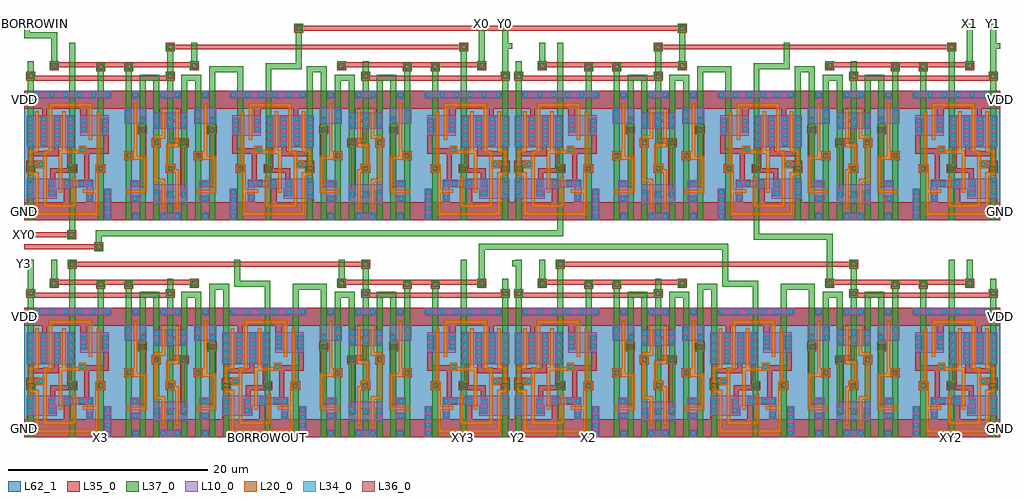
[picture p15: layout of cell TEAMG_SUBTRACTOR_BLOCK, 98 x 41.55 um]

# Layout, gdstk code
from math import pi, radians
import gdstk
lib = gdstk.Library(unit=1e-6, precision=1e-09)
def R(c, l, rs):  # rectangles x0, y0, x1, y1
    for r in rs: c.add(gdstk.rectangle(r[:2], r[2:], *l))
def A(c, l, x, y, w, h, nx, ny, dx, dy):  # array of equal rectangles
    R(c, l, [(x+i*dx, y+j*dy, x+i*dx+w, y+j*dy+h) for i in range(nx) for j in range(ny)])
def P(c, l, *ps):  # polygons
    for p in ps: c.add(gdstk.Polygon(p, *l))
L10_0 = (10, 0)
L20_0 = (20, 0)
L34_0 = (34, 0)
L35_0 = (35, 0)
L36_0 = (36, 0)
L37_0 = (37, 0)
L62_1 = (62, 1)

via1 = lib.new_cell('VIA1')
R(via1, L35_0, [(-0.45,-0.45,0.45,0.45)])
R(via1, L36_0, [(-0.25,-0.25,0.25,0.25)])
R(via1, L37_0, [(-0.4,-0.4,0.4,0.4)])

inv1_h = lib.new_cell('INV1_H')
R(inv1_h, L10_0, [(1.05,0,1.75,0.75), (0.85,1.8,1.85,4), (0.3,9.7,2.5,11.3), (1.05,12.25,1.75,13)])
P(inv1_h, L20_0, [(2.525,6.45),(1.575,6.45),(1.575,11.7),(1.225,11.7),(1.225,6.9),(0.3,6.9),(0.3,6.1),(2.175,6.1),(2.175,3.075),(0.425,3.075),(0.425,2.725),(2.525,2.725)])
R(inv1_h, L34_0, [(1.2,0.2,1.6,0.6), (1.15,1.95,1.55,2.35), (1.15,3.45,1.55,3.85), (0.5,6.3,0.9,6.7), (0.45,9.85,0.85,10.25), (1.95,9.85,2.35,10.25), (0.45,10.65,0.85,11.05), (1.2,12.4,1.6,12.8)])
R(inv1_h, L35_0, [(0,0,2.8,1.8), (0.25,6.05,1.15,6.95), (0.25,6.05,1.15,6.95), (1.65,8.65,2.55,9.55), (0,11.2,2.8,13)])
P(inv1_h, L35_0, [(2.8,1.8),(1.75,1.8),(1.75,2.5),(1,2.5),(1,1.8),(0,1.8),(0,0),(2.8,0)],
  [(2.55,9.55),(2.5,9.55),(2.5,10.4),(1.8,10.4),(1.8,9.55),(1.65,9.55),(1.65,8.65),(1.8,8.65),(1.8,4),(1,4),(1,3.3),(2.5,3.3),(2.5,8.65),(2.55,8.65)],
  [(2.8,13),(0,13),(0,11.2),(0.3,11.2),(0.3,9.7),(1,9.7),(1,11.2),(2.8,11.2)])
R(inv1_h, L36_0, [(0.45,6.25,0.95,6.75), (1.85,8.85,2.35,9.35)])
R(inv1_h, L37_0, [(0.4,0,1,13), (1.8,0,2.4,13), (0.3,6.1,1.1,6.9), (1.7,8.7,2.5,9.5)])
R(inv1_h, L62_1, [(0,0,2.8,13)])
inv1_h.add(gdstk.Label('INV1', (1.4,9.5), layer=61, texttype=2))
inv1_h.add(gdstk.Label('A', (0.7,13), layer=37, texttype=0))
inv1_h.add(gdstk.Label('Q', (2.1,13), layer=37, texttype=0))
inv1_h.add(gdstk.Label('A', (0.7,0), layer=37, texttype=0))
inv1_h.add(gdstk.Label('Q', (2.1,0), layer=37, texttype=0))
inv1_h.add(gdstk.Label('VDD', (0,12.1), layer=35, texttype=0))
inv1_h.add(gdstk.Label('GND', (0,0.9), layer=35, texttype=0))
inv1_h.add(gdstk.Label('VDD', (2.8,12.1), layer=35, texttype=0))
inv1_h.add(gdstk.Label('GND', (2.8,0.9), layer=35, texttype=0))

nand21_h = lib.new_cell('NAND21_H')
R(nand21_h, L10_0, [(1.05,0,3.15,0.75), (0.4,1.6,3.8,3.6), (0.4,9.2,3.8,10.8), (1.05,12.25,3.15,13)])
P(nand21_h, L20_0, [(2.95,5.15),(2.625,5.15),(2.625,5.675),(2.05,5.675),(2.05,7.35),(2.95,7.35),(2.95,11.2),(2.6,11.2),(2.6,7.7),(1.7,7.7),(1.7,4.8),(2.6,4.8),(2.6,1.2),(2.95,1.2)],
  [(1.6,4.15),(0.775,4.15),(0.775,7.4),(1.1,7.4),(1.1,8.2),(1.6,8.2),(1.6,11.2),(1.25,11.2),(1.25,8.55),(0.425,8.55),(0.425,8.2),(0.3,8.2),(0.3,7.4),(0.425,7.4),(0.425,3.8),(1.25,3.8),(1.25,1.2),(1.6,1.2)])
A(nand21_h, L34_0, 0.55, 2.4, 0.4, 0.4, 3, 2, 1.35, 7)
A(nand21_h, L34_0, 0.55, 10.2, 0.4, 0.4, 3, 1, 1.35, 0)
R(nand21_h, L34_0, [(1.2,0.2,1.6,0.6), (2.6,0.2,3,0.6), (1.9,5,2.3,5.4), (0.5,7.6,0.9,8), (1.2,12.4,1.6,12.8), (2.6,12.4,3,12.8)])
R(nand21_h, L35_0, [(1.75,2.25,2.45,2.95), (1.65,4.75,2.55,5.65), (1.65,4.75,2.55,5.65), (0.25,7.35,1.15,8.25), (0.25,7.35,1.15,8.25), (3.05,7.35,3.95,8.25)])
P(nand21_h, L35_0, [(4.2,1.8),(1.1,1.8),(1.1,3),(0.4,3),(0.4,1.8),(0,1.8),(0,0),(4.2,0)],
  [(4.2,13),(0,13),(0,11.2),(0.4,11.2),(0.4,9.25),(1.1,9.25),(1.1,11.2),(3.1,11.2),(3.1,9.25),(3.8,9.25),(3.8,11.2),(4.2,11.2)],
  [(3.95,8.25),(2.45,8.25),(2.45,10.75),(1.75,10.75),(1.75,9.25),(1.95,9.25),(1.95,7.75),(3.05,7.75),(3.05,7.35),(3.1,7.35),(3.1,2.25),(3.8,2.25),(3.8,2.95),(3.6,2.95),(3.6,7.35),(3.95,7.35)])
R(nand21_h, L36_0, [(1.85,4.95,2.35,5.45), (0.45,7.55,0.95,8.05), (3.25,7.55,3.75,8.05)])
A(nand21_h, L37_0, 0.4, 0, 0.6, 13, 3, 1, 1.4, 0)
R(nand21_h, L37_0, [(1.7,4.8,2.5,5.6), (0.3,7.4,1.1,8.2), (3.1,7.4,3.9,8.2)])
R(nand21_h, L62_1, [(0,0,4.2,13)])
nand21_h.add(gdstk.Label('NAND21', (2.1,9.5), layer=61, texttype=2))
nand21_h.add(gdstk.Label('B', (0.7,13), layer=37, texttype=0))
nand21_h.add(gdstk.Label('Q', (3.5,13), layer=37, texttype=0))
nand21_h.add(gdstk.Label('A', (2.1,13), layer=37, texttype=0))
nand21_h.add(gdstk.Label('GND', (4.2,0.9), layer=35, texttype=0))
nand21_h.add(gdstk.Label('GND', (0,0.9), layer=35, texttype=0))
nand21_h.add(gdstk.Label('VDD', (4.2,12.1), layer=35, texttype=0))
nand21_h.add(gdstk.Label('VDD', (0,12.1), layer=35, texttype=0))
nand21_h.add(gdstk.Label('B', (0.7,0), layer=37, texttype=0))
nand21_h.add(gdstk.Label('Q', (3.5,0), layer=37, texttype=0))
nand21_h.add(gdstk.Label('A', (2.1,0), layer=37, texttype=0))

xor21_h = lib.new_cell('XOR21_H')
R(xor21_h, L10_0, [(8.05,0,8.75,3.15), (0.3,7.35,5.05,10.55), (5.65,8.5,8.5,10.55), (1.05,12.25,8.75,13)])
P(xor21_h, L10_0, [(6.95,4.025),(5.45,4.025),(5.45,3.975),(4.7,3.975),(4.7,4.175),(0.3,4.175),(0.3,2.175),(3.3,2.175),(3.3,3.175),(4.7,3.175),(4.7,3.325),(6.3,3.325),(6.3,2.575),(6.25,2.575),(6.25,1.875),(6.95,1.875)])
P(xor21_h, L20_0, [(6.85,11.75),(2.5,11.75),(2.5,7.025),(1.95,7.025),(1.95,6.05),(1.3,6.05),(1.3,5.25),(1.95,5.25),(1.95,1.275),(5.25,1.275),(5.25,4.375),(4.9,4.375),(4.9,1.625),(2.3,1.625),(2.3,6.675),(2.85,6.675),(2.85,11.4),(6.5,11.4),(6.5,8.1),(6.85,8.1)],
  [(8.1,5.6),(7.65,5.6),(7.65,10.95),(7.3,10.95),(7.3,5.6),(7.15,5.6),(7.15,3.125),(5.9,3.125),(5.9,2.775),(7.15,2.775),(7.15,0.825),(1.5,0.825),(1.5,4.8),(0.85,4.8),(0.85,6.8),(1.5,6.8),(1.5,10.95),(1.15,10.95),(1.15,7.15),(0.5,7.15),(0.5,4.45),(1.15,4.45),(1.15,0.475),(7.5,0.475),(7.5,4.8),(8.1,4.8)],
  [(6.275,7.475),(5.475,7.475),(5.475,7.025),(4.2,7.025),(4.2,10.95),(3.85,10.95),(3.85,7.025),(3.5,7.025),(3.5,2.775),(3.85,2.775),(3.85,6.675),(6.275,6.675)])
A(xor21_h, L34_0, 8.2, 0.2, 0.4, 0.4, 1, 4, 0, 0.8)
A(xor21_h, L34_0, 0.45, 7.55, 0.4, 0.4, 4, 4, 1.35, 0.8)
A(xor21_h, L34_0, 1.2, 12.4, 0.4, 0.4, 6, 1, 1.4, 0)
R(xor21_h, L34_0, [(6.4,2.05,6.8,2.45), (0.45,2.55,0.85,2.95), (2.6,2.55,3,2.95), (0.45,3.4,0.85,3.8), (2.6,3.4,3,3.8), (5.6,3.45,6,3.85), (6.4,3.45,6.8,3.85), (4.15,3.5,4.55,3.9), (7.5,5,7.9,5.4), (1.5,5.45,1.9,5.85), (5.65,6.9,6.05,7.3), (5.8,8.95,6.2,9.35), (7.95,8.95,8.35,9.35), (5.8,9.75,6.2,10.15), (7.95,9.75,8.35,10.15)])
R(xor21_h, L35_0, [(0.25,4.75,1.15,5.65), (4.4,4.75,5.3,5.65), (7.25,4.75,8.15,5.65), (7.25,4.75,8.15,5.65)])
P(xor21_h, L35_0, [(5.35,5.65),(4.85,5.65),(4.85,7.4),(5.05,7.4),(5.05,10.5),(4.35,10.5),(4.35,5.25),(2.65,5.25),(2.65,3.95),(2.45,3.95),(2.45,2.4),(3.15,2.4),(3.15,4.75),(5.35,4.75)],
  [(9.8,1.8),(8.75,1.8),(8.75,3.15),(8.05,3.15),(8.05,1.8),(6.95,1.8),(6.95,2.6),(6.25,2.6),(6.25,1.8),(4.7,1.8),(4.7,4.05),(4,4.05),(4,1.8),(1,1.8),(1,3.95),(0.3,3.95),(0.3,1.8),(0,1.8),(0,0),(9.8,0)],
  [(8.5,10.3),(7.8,10.3),(7.8,8.8),(8,8.8),(8,7.25),(6.25,7.25),(6.25,7.45),(5.5,7.45),(5.5,6.7),(6.05,6.7),(6.05,4.05),(5.45,4.05),(5.45,3.3),(6.95,3.3),(6.95,4.05),(6.55,4.05),(6.55,6.7),(8.5,6.7)],
  [(9.8,13),(0,13),(0,11.2),(1.85,11.2),(1.85,10.5),(1.65,10.5),(1.65,7.4),(2.35,7.4),(2.35,11.2),(5.65,11.2),(5.65,8.8),(6.35,8.8),(6.35,11.2),(9.8,11.2)],
  [(3.7,10.5),(3,10.5),(3,6.95),(1,6.95),(1,10.5),(0.3,10.5),(0.3,7.4),(0.5,7.4),(0.5,6.45),(3.5,6.45),(3.5,7.4),(3.7,7.4)],
  [(2.05,6),(0.25,6),(0.25,4.75),(1.15,4.75),(1.15,5.3),(2.05,5.3)])
R(xor21_h, L36_0, [(0.45,4.95,0.95,5.45), (4.6,4.95,5.1,5.45), (7.45,4.95,7.95,5.45)])
R(xor21_h, L37_0, [(0.4,0,1,13), (4.55,0,5.15,13), (7.4,0,8,13), (0.3,4.8,1.1,5.6), (4.45,4.8,5.25,5.6), (7.3,4.8,8.1,5.6)])
R(xor21_h, L62_1, [(0,0,9.8,13)])
xor21_h.add(gdstk.Label('XOR21', (4.9,9.5), layer=61, texttype=2))
xor21_h.add(gdstk.Label('A', (0.7,13), layer=37, texttype=0))
xor21_h.add(gdstk.Label('Q', (4.85,13), layer=37, texttype=0))
xor21_h.add(gdstk.Label('B', (7.7,13), layer=37, texttype=0))
xor21_h.add(gdstk.Label('GND', (9.8,0.9), layer=35, texttype=0))
xor21_h.add(gdstk.Label('GND', (0,0.9), layer=35, texttype=0))
xor21_h.add(gdstk.Label('VDD', (9.8,12.1), layer=35, texttype=0))
xor21_h.add(gdstk.Label('VDD', (0,12.1), layer=35, texttype=0))
xor21_h.add(gdstk.Label('A', (0.7,0), layer=37, texttype=0))
xor21_h.add(gdstk.Label('Q', (4.85,0), layer=37, texttype=0))
xor21_h.add(gdstk.Label('B', (7.7,0), layer=37, texttype=0))

teamg_halfsubtractor = lib.new_cell('TEAMG_HALFSUBTRACTOR')
teamg_halfsubtractor.add(gdstk.FlexPath([(44,33.1),(29.3,33.1)], 0.5, ends="flush", simple_path=True, layer=35, datatype=0))  # L35_0
teamg_halfsubtractor.add(gdstk.FlexPath([(41.65,31.75),(26.8,31.75)], 0.5, ends="flush", simple_path=True, layer=35, datatype=0))  # L35_0
teamg_halfsubtractor.add(gdstk.FlexPath([(46.15,32.65),(45.15,32.65)], 0.6, ends="flush", simple_path=True, layer=37, datatype=0))  # L37_0
teamg_halfsubtractor.add(gdstk.FlexPath([(45.45,32.95),(45.45,30.5)], 0.6, ends="flush", simple_path=True, layer=37, datatype=0))  # L37_0
teamg_halfsubtractor.add(gdstk.FlexPath([(29.6,33.45),(29.6,33.4)], 0.6, ends="flush", simple_path=True, layer=37, datatype=0))  # L37_0
teamg_halfsubtractor.add(gdstk.FlexPath([(43.65,33.45),(43.65,33.4)], 0.6, ends="flush", simple_path=True, layer=37, datatype=0))  # L37_0
teamg_halfsubtractor.add(gdstk.FlexPath([(27.25,33.45),(27.25,30.5)], 0.6, ends="flush", simple_path=True, layer=37, datatype=0))  # L37_0
teamg_halfsubtractor.add(gdstk.FlexPath([(31.4,33.45),(31.4,30.5)], 0.6, ends="flush", simple_path=True, layer=37, datatype=0))  # L37_0
teamg_halfsubtractor.add(gdstk.FlexPath([(41.25,33.45),(41.25,30.5)], 0.6, ends="flush", simple_path=True, layer=37, datatype=0))  # L37_0
teamg_halfsubtractor.add(gdstk.FlexPath([(44.05,32.1),(44.05,30.5)], 0.6, ends="flush", simple_path=True, layer=37, datatype=0))  # L37_0
teamg_halfsubtractor.add(gdstk.FlexPath([(44.35,31.8),(42.7,31.8)], 0.6, ends="flush", simple_path=True, layer=37, datatype=0))  # L37_0
teamg_halfsubtractor.add(gdstk.FlexPath([(42.65,32.1),(42.65,30.5)], 0.6, ends="flush", simple_path=True, layer=37, datatype=0))  # L37_0
teamg_halfsubtractor.add(gdstk.FlexPath([(40.15,31.8),(38.15,31.8)], 0.6, ends="flush", simple_path=True, layer=37, datatype=0))  # L37_0
teamg_halfsubtractor.add(gdstk.FlexPath([(39.85,31.95),(39.85,30.5)], 0.6, ends="flush", simple_path=True, layer=37, datatype=0))  # L37_0
teamg_halfsubtractor.add(gdstk.FlexPath([(38.45,32),(38.45,30.5)], 0.6, ends="flush", simple_path=True, layer=37, datatype=0))  # L37_0
teamg_halfsubtractor.add(gdstk.FlexPath([(37.05,33.3),(37.05,30.5)], 0.6, ends="flush", simple_path=True, layer=37, datatype=0))  # L37_0
teamg_halfsubtractor.add(gdstk.FlexPath([(34.25,33.3),(34.25,30.5)], 0.6, ends="flush", simple_path=True, layer=37, datatype=0))  # L37_0
teamg_halfsubtractor.add(gdstk.Reference(via1, (29.6,33)))
teamg_halfsubtractor.add(gdstk.Reference(via1, (43.65,33)))
teamg_halfsubtractor.add(gdstk.Reference(via1, (41.25,31.95)))
teamg_halfsubtractor.add(gdstk.Reference(via1, (37.05,32.9)))
teamg_halfsubtractor.add(gdstk.Reference(via1, (34.25,32.9)))
teamg_halfsubtractor.add(gdstk.Reference(via1, (27.25,31.95)))
teamg_halfsubtractor.add(gdstk.Reference(inv1_h, (43.35,17.5)))
teamg_halfsubtractor.add(gdstk.Reference(nand21_h, (39.15,17.5)))
teamg_halfsubtractor.add(gdstk.Reference(inv1_h, (36.35,17.5)))
teamg_halfsubtractor.add(gdstk.Reference(xor21_h, (26.55,17.5)))
teamg_halfsubtractor.add(gdstk.Label('BORROWOUT', (46.15,32.65), layer=37, texttype=0))
teamg_halfsubtractor.add(gdstk.Label('X', (43.65,33.45), layer=37, texttype=0))
teamg_halfsubtractor.add(gdstk.Label('X', (29.6,33.45), layer=37, texttype=0))
teamg_halfsubtractor.add(gdstk.Label('Y', (27.25,33.45), layer=37, texttype=0))
teamg_halfsubtractor.add(gdstk.Label('XY', (31.4,33.45), layer=37, texttype=0))
teamg_halfsubtractor.add(gdstk.Label('Y', (41.25,33.45), layer=37, texttype=0))
teamg_halfsubtractor.add(gdstk.Label('XY', (31.4,17.5), layer=37, texttype=0))
teamg_halfsubtractor.add(gdstk.Label('BORROWOUT', (45.45,17.5), layer=37, texttype=0))

teamg_fullsubtractor = lib.new_cell('TEAMG_FULLSUBTRACTOR')
teamg_fullsubtractor.add(gdstk.FlexPath([(35,34.05),(5.5,34.05)], 0.5, ends="flush", simple_path=True, layer=35, datatype=0))  # L35_0
teamg_fullsubtractor.add(gdstk.FlexPath([(0.4,34.15),(1.4,34.15)], 0.6, ends="flush", simple_path=True, layer=37, datatype=0))  # L37_0
teamg_fullsubtractor.add(gdstk.FlexPath([(21.8,34.5),(21.8,32.1),(24.85,32.1),(24.85,29.65)], 0.6, ends="flush", simple_path=True, layer=37, datatype=0))  # L37_0
teamg_fullsubtractor.add(gdstk.FlexPath([(20.95,31.8),(20,31.8)], 0.6, ends="flush", simple_path=True, layer=37, datatype=0))  # L37_0
teamg_fullsubtractor.add(gdstk.FlexPath([(20.7,32.1),(20.7,29.65)], 0.6, ends="flush", simple_path=True, layer=37, datatype=0))  # L37_0
teamg_fullsubtractor.add(gdstk.FlexPath([(27.75,31.8),(29.8,31.8)], 0.6, ends="flush", simple_path=True, layer=37, datatype=0))  # L37_0
teamg_fullsubtractor.add(gdstk.FlexPath([(46.35,34.5),(46.35,32.6)], 0.6, ends="flush", simple_path=True, layer=37, datatype=0))  # L37_0
teamg_fullsubtractor.add(gdstk.FlexPath([(3.45,34.5),(3.45,32.6)], 0.6, ends="flush", simple_path=True, layer=37, datatype=0))  # L37_0
teamg_fullsubtractor.add(gdstk.FlexPath([(1.1,34.5),(1.1,32.6)], 0.6, ends="flush", simple_path=True, layer=37, datatype=0))  # L37_0
teamg_fullsubtractor.add(gdstk.FlexPath([(44.55,34.5),(44.55,32.6)], 0.6, ends="flush", simple_path=True, layer=37, datatype=0))  # L37_0
teamg_fullsubtractor.add(gdstk.FlexPath([(32.3,34.5),(32.3,32.6)], 0.6, ends="flush", simple_path=True, layer=37, datatype=0))  # L37_0
teamg_fullsubtractor.add(gdstk.FlexPath([(34.7,34.3),(34.7,32.6)], 0.6, ends="flush", simple_path=True, layer=37, datatype=0))  # L37_0
teamg_fullsubtractor.add(gdstk.FlexPath([(5.25,34.45),(5.25,32.6)], 0.6, ends="flush", simple_path=True, layer=37, datatype=0))  # L37_0
teamg_fullsubtractor.add(gdstk.FlexPath([(27.7,32.1),(27.7,29.65)], 0.6, ends="flush", simple_path=True, layer=37, datatype=0))  # L37_0
teamg_fullsubtractor.add(gdstk.Reference(teamg_halfsubtractor, (75.95,-0.85), rotation=pi, x_reflection=True))
teamg_fullsubtractor.add(gdstk.Reference(teamg_halfsubtractor, (-26.15,-0.85)))
teamg_fullsubtractor.add(gdstk.Reference(via1, (34.7,34.05)))
teamg_fullsubtractor.add(gdstk.Reference(via1, (5.25,34.05)))
teamg_fullsubtractor.add(gdstk.Reference(xor21_h, (20,16.65)))
teamg_fullsubtractor.add(gdstk.Label('Y', (0.4,34.15), layer=37, texttype=0))
teamg_fullsubtractor.add(gdstk.Label('Y', (1.1,16.65), layer=37, texttype=0))
teamg_fullsubtractor.add(gdstk.Label('X', (8.1,16.65), layer=37, texttype=0))
teamg_fullsubtractor.add(gdstk.Label('BORROWOUT', (21.8,34.5), layer=37, texttype=0))
teamg_fullsubtractor.add(gdstk.Label('CIN', (46.35,34.5), layer=37, texttype=0))
teamg_fullsubtractor.add(gdstk.Label('XY', (44.55,16.65), layer=37, texttype=0))
teamg_fullsubtractor.add(gdstk.Label('BORROWOUT', (24.85,16.65), layer=37, texttype=0))
teamg_fullsubtractor.add(gdstk.Label('XY', (44.55,34.5), layer=37, texttype=0))
teamg_fullsubtractor.add(gdstk.Label('X', (3.45,34.5), layer=37, texttype=0))
teamg_fullsubtractor.add(gdstk.Label('Y', (1.1,34.5), layer=37, texttype=0))
teamg_fullsubtractor.add(gdstk.Label('CIN', (32.3,34.5), layer=37, texttype=0))

teamg_subtractor_block = lib.new_cell('TEAMG_SUBTRACTOR_BLOCK')
teamg_subtractor_block.add(gdstk.FlexPath([(6.55,-0.75),(11.6,-0.75)], 0.5, ends="flush", simple_path=True, layer=35, datatype=0))  # L35_0
teamg_subtractor_block.add(gdstk.FlexPath([(6.55,-1.95),(14.3,-1.95)], 0.5, ends="flush", simple_path=True, layer=35, datatype=0))  # L35_0
teamg_subtractor_block.add(gdstk.FlexPath([(33.9,20),(72.65,20)], 0.5, ends="flush", simple_path=True, layer=35, datatype=0))  # L35_0
teamg_subtractor_block.add(gdstk.FlexPath([(6.85,20.45),(6.85,19)], 0.6, ends="flush", simple_path=True, layer=37, datatype=0))  # L37_0
teamg_subtractor_block.add(gdstk.FlexPath([(14.05,-2.3),(14.05,-0.3)], 0.6, ends="flush", simple_path=True, layer=37, datatype=0))  # L37_0
teamg_subtractor_block.add(gdstk.FlexPath([(14.05,-0.6),(47.25,-0.6)], 0.6, ends="flush", simple_path=True, layer=37, datatype=0))  # L37_0
teamg_subtractor_block.add(gdstk.FlexPath([(47.25,-0.6),(60.7,-0.6)], 0.6, ends="flush", simple_path=True, layer=37, datatype=0))  # L37_0
teamg_subtractor_block.add(gdstk.FlexPath([(11.4,-1.15),(11.4,0.7)], 0.6, ends="flush", simple_path=True, layer=37, datatype=0))  # L37_0
teamg_subtractor_block.add(gdstk.FlexPath([(6.85,19.3),(9.6,19.3),(9.6,18.55)], 0.6, ends="flush", simple_path=True, layer=37, datatype=0))  # L37_0
teamg_subtractor_block.add(gdstk.FlexPath([(60.4,-0.5),(60.4,0.7)], 0.6, ends="flush", simple_path=True, layer=37, datatype=0))  # L37_0
teamg_subtractor_block.add(gdstk.FlexPath([(87.45,-3.25),(87.45,-0.95),(80.1,-0.95),(80.1,0.7)], 0.6, ends="flush", simple_path=True, layer=37, datatype=0))  # L37_0
teamg_subtractor_block.add(gdstk.FlexPath([(77.25,-1.95),(52.2,-1.95)], 0.6, ends="flush", simple_path=True, layer=37, datatype=0))  # L37_0
teamg_subtractor_block.add(gdstk.FlexPath([(76.95,-2.15),(76.95,-3.25)], 0.6, ends="flush", simple_path=True, layer=37, datatype=0))  # L37_0
teamg_subtractor_block.add(gdstk.FlexPath([(52.5,-2.15),(52.5,-3.25)], 0.6, ends="flush", simple_path=True, layer=37, datatype=0))  # L37_0
teamg_subtractor_block.add(gdstk.FlexPath([(34.15,19.75),(34.15,18.55)], 0.6, ends="flush", simple_path=True, layer=37, datatype=0))  # L37_0
teamg_subtractor_block.add(gdstk.FlexPath([(103.85,20.45),(103.85,18.55)], 0.6, ends="flush", simple_path=True, layer=37, datatype=0))  # L37_0
teamg_subtractor_block.add(gdstk.FlexPath([(101.5,20.45),(101.5,18.55)], 0.6, ends="flush", simple_path=True, layer=37, datatype=0))  # L37_0
teamg_subtractor_block.add(gdstk.FlexPath([(52.5,20.45),(52.5,18.55)], 0.6, ends="flush", simple_path=True, layer=37, datatype=0))  # L37_0
teamg_subtractor_block.add(gdstk.FlexPath([(54.85,20.45),(54.85,18.55)], 0.6, ends="flush", simple_path=True, layer=37, datatype=0))  # L37_0
teamg_subtractor_block.add(gdstk.FlexPath([(72.65,19.75),(72.65,18.55)], 0.6, ends="flush", simple_path=True, layer=37, datatype=0))  # L37_0
teamg_subtractor_block.add(gdstk.Reference(teamg_fullsubtractor, (6.15,-37.75)))
teamg_subtractor_block.add(gdstk.Reference(via1, (14.05,-1.95)))
teamg_subtractor_block.add(gdstk.Reference(via1, (11.35,-0.75)))
teamg_subtractor_block.add(gdstk.Reference(teamg_fullsubtractor, (55.15,-37.75)))
teamg_subtractor_block.add(gdstk.Reference(via1, (34.15,20)))
teamg_subtractor_block.add(gdstk.Reference(teamg_fullsubtractor, (104.95,-15.95), rotation=pi, x_reflection=True))
teamg_subtractor_block.add(gdstk.Reference(via1, (72.65,20)))
teamg_subtractor_block.add(gdstk.Reference(teamg_fullsubtractor, (55.95,-15.95), rotation=pi, x_reflection=True))
teamg_subtractor_block.add(gdstk.Label('BORROWIN', (6.85,20.45), layer=37, texttype=0))
teamg_subtractor_block.add(gdstk.Label('Y3', (6.55,-3.6), layer=37, texttype=0))
teamg_subtractor_block.add(gdstk.Label('XY0', (6.55,-0.75), layer=35, texttype=0))
teamg_subtractor_block.add(gdstk.Label('XY1', (6.55,-1.95), layer=35, texttype=0))
teamg_subtractor_block.add(gdstk.Label('VDD', (104.55,12.8), layer=35, texttype=0))
teamg_subtractor_block.add(gdstk.Label('GND', (104.55,1.6), layer=35, texttype=0))
teamg_subtractor_block.add(gdstk.Label('GND', (104.55,-20.2), layer=35, texttype=0))
teamg_subtractor_block.add(gdstk.Label('VDD', (104.55,-9), layer=35, texttype=0))
teamg_subtractor_block.add(gdstk.Label('GND', (6.55,-20.2), layer=35, texttype=0))
teamg_subtractor_block.add(gdstk.Label('VDD', (6.55,-9), layer=35, texttype=0))
teamg_subtractor_block.add(gdstk.Label('GND', (6.55,1.6), layer=35, texttype=0))
teamg_subtractor_block.add(gdstk.Label('VDD', (6.55,12.8), layer=35, texttype=0))
teamg_subtractor_block.add(gdstk.Label('XY2', (99.7,-21.1), layer=37, texttype=0))
teamg_subtractor_block.add(gdstk.Label('X2', (63.25,-21.1), layer=37, texttype=0))
teamg_subtractor_block.add(gdstk.Label('Y2', (56.25,-21.1), layer=37, texttype=0))
teamg_subtractor_block.add(gdstk.Label('XY3', (50.7,-21.1), layer=37, texttype=0))
teamg_subtractor_block.add(gdstk.Label('BORROWOUT', (31,-21.1), layer=37, texttype=0))
teamg_subtractor_block.add(gdstk.Label('X3', (14.25,-21.1), layer=37, texttype=0))
teamg_subtractor_block.add(gdstk.Label('Y3', (7.25,-21.1), layer=37, texttype=0))
teamg_subtractor_block.add(gdstk.Label('X1', (101.5,20.45), layer=37, texttype=0))
teamg_subtractor_block.add(gdstk.Label('Y1', (103.85,20.45), layer=37, texttype=0))
teamg_subtractor_block.add(gdstk.Label('Y0', (54.85,20.45), layer=37, texttype=0))
teamg_subtractor_block.add(gdstk.Label('X0', (52.5,20.45), layer=37, texttype=0))

lib.write_gds('TEAMG_SUBTRACTOR_BLOCK.gds')
